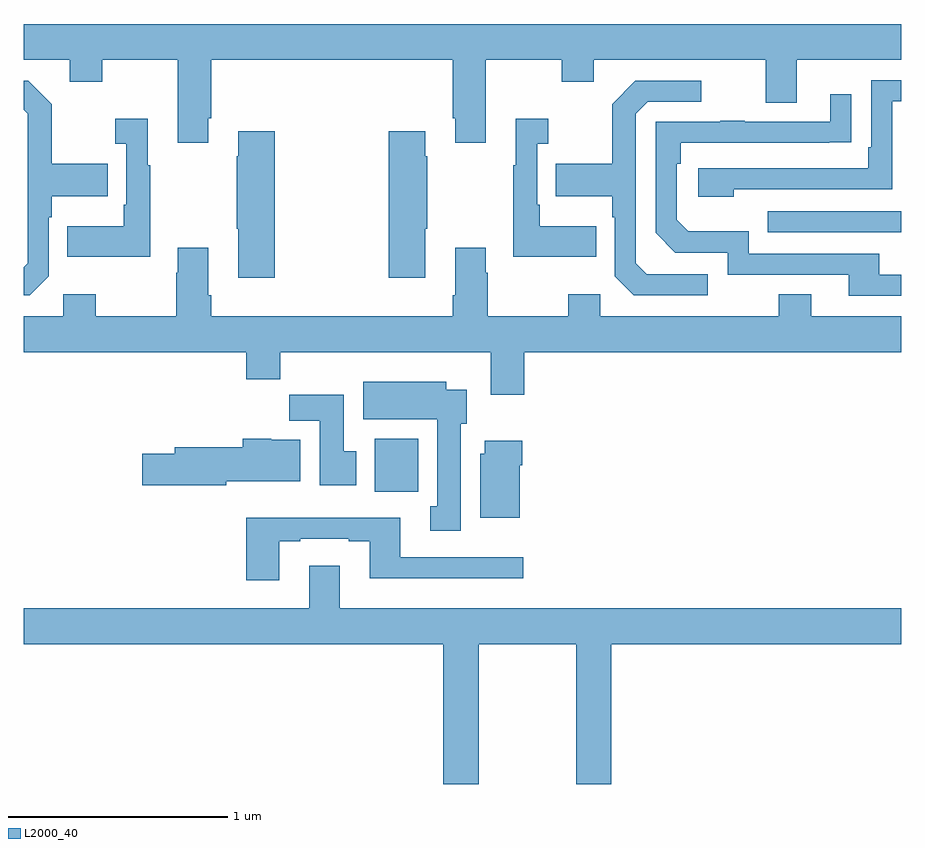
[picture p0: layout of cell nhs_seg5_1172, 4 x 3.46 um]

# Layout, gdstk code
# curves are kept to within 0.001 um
import gdstk
lib = gdstk.Library(unit=1e-6, precision=1e-09)
def R(c, l, rs):  # rectangles x0, y0, x1, y1
    for r in rs: c.add(gdstk.rectangle(r[:2], r[2:], *l))
def P(c, l, *ps):  # polygons
    for p in ps: c.add(gdstk.Polygon(p, *l))
L2000_40 = (2000, 40)

nhs_seg5_1172 = lib.new_cell('nhs_seg5_1172')
R(nhs_seg5_1172, L2000_40, [(184.601,848.132,184.798,848.374), (186.391,849.315,187,849.411)])
P(nhs_seg5_1172, L2000_40, [(183.841,849.835),(183.854,849.835),(183.854,850.1),(184.955,850.1),(184.955,849.835),(184.967,849.835),(184.967,849.723),(185.107,849.723),(185.107,850.1),(185.452,850.1),(185.452,850.001),(185.599,850.001),(185.599,850.1),(186.383,850.1),(186.383,849.906),(186.523,849.906),(186.523,850.1),(187,850.1),(187,850.264),(183,850.264),(183,850.1),(183.209,850.1),(183.209,850.001),(183.357,850.001),(183.357,850.1),(183.701,850.1),(183.701,849.723),(183.841,849.723)],
  [(186.236,849.51),(186.96,849.51),(186.96,849.912),(187,849.912),(187,850.008),(186.864,850.008),(186.864,849.703),(186.851,849.703),(186.851,849.606),(186.075,849.606),(186.075,849.476),(186.236,849.476)],
  [(183.114,849.114),(183.114,849.383),(183.127,849.383),(183.127,849.479),(183.383,849.479),(183.383,849.627),(183.127,849.627),(183.127,849.899),(183.021,850.005),(183,850.005),(183,849.873),(183.018,849.855),(183.018,849.174),(183,849.156),(183,849.027),(183.027,849.027)],
  [(186.118,849.123),(185.841,849.123),(185.79,849.174),(185.79,849.855),(185.844,849.909),(186.088,849.909),(186.088,850.005),(185.787,850.005),(185.682,849.899),(185.682,849.627),(185.425,849.627),(185.425,849.479),(185.682,849.479),(185.682,849.383),(185.694,849.383),(185.694,849.114),(185.781,849.027),(186.118,849.027)],
  [(187,849.12),(186.901,849.12),(186.901,849.216),(186.306,849.216),(186.306,849.319),(186.029,849.319),(185.976,849.372),(185.976,849.626),(185.996,849.626),(185.996,849.723),(186.773,849.724),(186.773,849.943),(186.677,849.943),(186.677,849.819),(186.287,849.819),(186.287,849.824),(186.175,849.824),(186.175,849.819),(185.88,849.819),(185.88,849.312),(185.97,849.222),(186.21,849.222),(186.21,849.12),(186.761,849.12),(186.761,849.024),(187,849.024)],
  [(185.609,849.343),(185.353,849.343),(185.353,849.439),(185.34,849.439),(185.34,849.719),(185.392,849.719),(185.392,849.832),(185.243,849.832),(185.243,849.619),(185.232,849.619),(185.232,849.203),(185.609,849.203)],
  [(183.577,849.619),(183.565,849.619),(183.565,849.832),(183.417,849.832),(183.417,849.719),(183.468,849.719),(183.468,849.439),(183.456,849.439),(183.456,849.343),(183.199,849.343),(183.199,849.203),(183.577,849.203)],
  [(184.145,849.775),(183.977,849.775),(183.977,849.662),(183.97,849.662),(183.97,849.331),(183.977,849.331),(183.977,849.108),(184.145,849.108)],
  [(184.831,849.331),(184.839,849.331),(184.839,849.662),(184.831,849.662),(184.831,849.775),(184.664,849.775),(184.664,849.108),(184.831,849.108)],
  [(185.282,848.768),(187,848.768),(187,848.932),(186.589,848.932),(186.589,849.031),(186.442,849.031),(186.442,848.932),(185.628,848.932),(185.628,849.031),(185.482,849.031),(185.482,848.932),(185.115,848.932),(185.115,849.131),(185.107,849.131),(185.107,849.244),(184.967,849.244),(184.967,849.028),(184.955,849.028),(184.955,848.932),(183.854,848.932),(183.854,849.028),(183.841,849.028),(183.841,849.244),(183.701,849.244),(183.701,849.131),(183.694,849.131),(183.694,848.932),(183.327,848.932),(183.327,849.031),(183.18,849.031),(183.18,848.932),(183,848.932),(183,848.768),(184.013,848.768),(184.013,848.644),(184.169,848.644),(184.169,848.768),(185.129,848.768),(185.129,848.574),(185.282,848.574)],
  [(184.993,848.442),(185.02,848.442),(185.02,848.596),(184.927,848.596),(184.927,848.632),(184.547,848.632),(184.547,848.462),(184.886,848.462),(184.886,848.066),(184.853,848.066),(184.853,847.953),(184.993,847.953)],
  [(184.516,848.316),(184.459,848.316),(184.459,848.574),(184.21,848.574),(184.21,848.456),(184.349,848.456),(184.349,848.16),(184.516,848.16)],
  [(183.924,848.18),(184.261,848.18),(184.261,848.368),(184.128,848.368),(184.128,848.374),(183.998,848.374),(183.998,848.334),(183.689,848.334),(183.689,848.304),(183.54,848.304),(183.54,848.162),(183.924,848.162)],
  [(185.26,848.252),(185.273,848.252),(185.273,848.365),(185.102,848.365),(185.102,848.304),(185.081,848.304),(185.081,848.012),(185.26,848.012)],
  [(184.165,847.905),(184.261,847.905),(184.261,847.917),(184.481,847.917),(184.481,847.905),(184.577,847.905),(184.577,847.736),(185.278,847.736),(185.278,847.833),(184.717,847.833),(184.717,848.014),(184.013,848.014),(184.013,847.728),(184.165,847.728)],
  [(185.073,847.436),(185.518,847.436),(185.518,846.799),(185.678,846.799),(185.678,847.436),(187,847.436),(187,847.6),(184.441,847.6),(184.441,847.795),(184.301,847.795),(184.301,847.6),(183,847.6),(183,847.436),(184.913,847.436),(184.913,846.799),(185.073,846.799)])

lib.write_gds('nhs_seg5_1172.gds')
